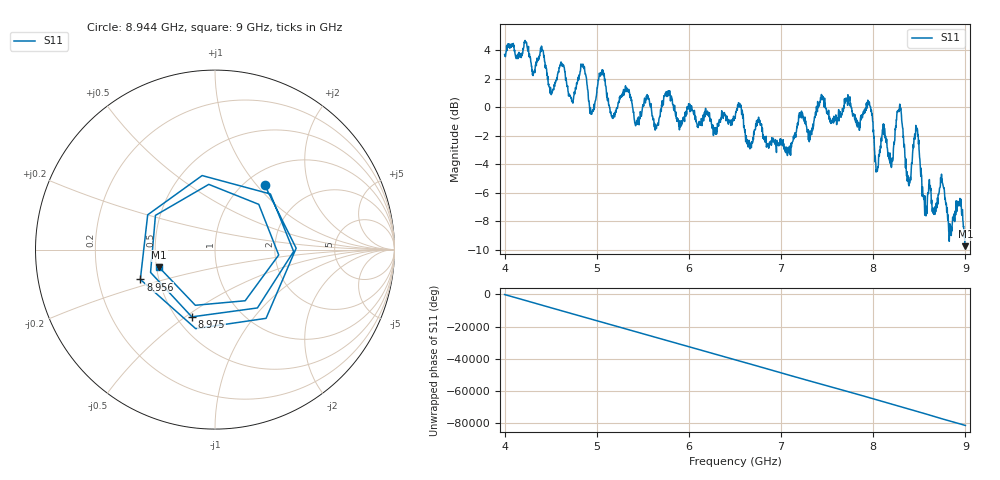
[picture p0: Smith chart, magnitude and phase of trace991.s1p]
! Created with skrf 1.8.0 (http://scikit-rf.org).
# Hz S RI R 50.0
!freq ReS11 ImS11
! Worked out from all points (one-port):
!   1601 points, 4 GHz to 9 GHz, reference 50 ohm
!   lowest |S11| = -9.7 dB at 9 GHz (marker M1), VSWR 1.97, Z = 25.9 - j5.76 ohm
!   |S11| at or under -10 dB: nowhere
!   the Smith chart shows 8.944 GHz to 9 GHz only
!   S11 on the Smith chart (normalised r, x): 8.944 GHz: 1.21, +1.10; 8.956 GHz: 0.39, -0.16; 8.975 GHz: 0.60, -0.53; 9 GHz: 0.52, -0.12
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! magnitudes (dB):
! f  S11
! 4 GHz  3.7
! 4.406 GHz  4.1
! 4.509 GHz  1.0
! 4.625 GHz  3.0
! 4.728 GHz  0.4
! 4.853 GHz  2.9
! 4.947 GHz  -0.3
! 5.05 GHz  2.3
! 5.169 GHz  -0.7
! 5.25 GHz  0.6
! 5.875 GHz  -0.9
! 6.5 GHz  -0.8
! 7.125 GHz  -2.4
! 7.438 GHz  0.9
! 7.75 GHz  0.1
! 7.966 GHz  0.1
! 8.041 GHz  -4.5
! 8.109 GHz  -1.2
! 8.194 GHz  -4.2
! 8.284 GHz  0.0
! 8.375 GHz  -4.8
! 8.469 GHz  -1.6
! 8.562 GHz  -6.2
! 8.841 GHz  -8.9
! 8.944 GHz  -6.8
! 8.956 GHz  -7.0
! 8.975 GHz  -8.0
! 9 GHz  -9.7
